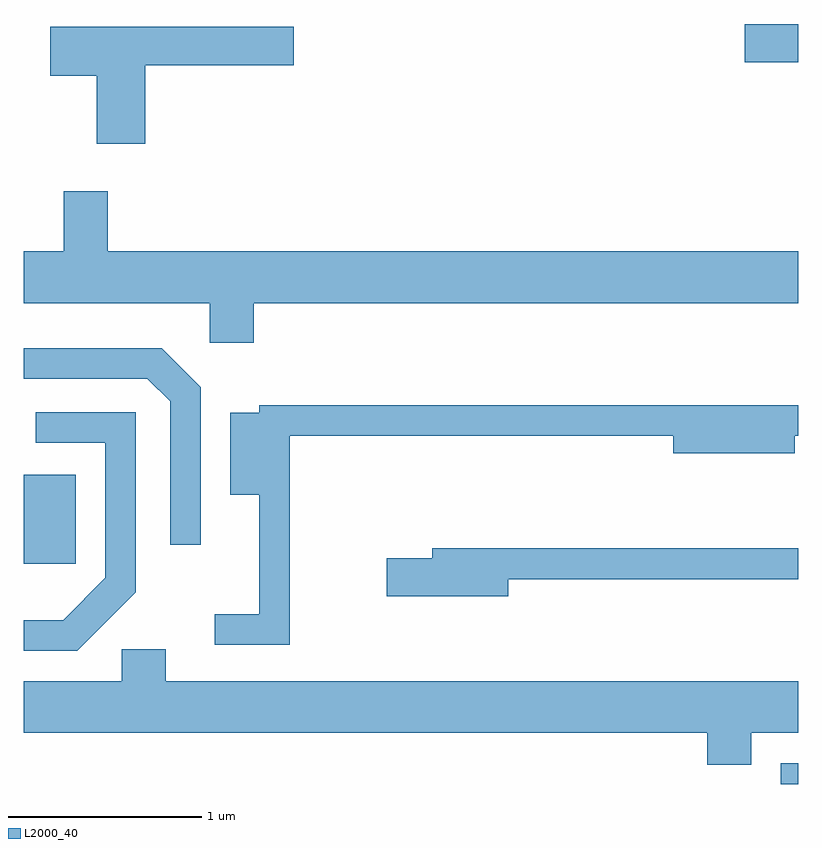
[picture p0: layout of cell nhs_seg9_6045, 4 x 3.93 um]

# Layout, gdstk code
import gdstk
lib = gdstk.Library(unit=1e-6, precision=1e-09)
def R(c, l, rs):  # rectangles x0, y0, x1, y1
    for r in rs: c.add(gdstk.rectangle(r[:2], r[2:], *l))
def P(c, l, *ps):  # polygons
    for p in ps: c.add(gdstk.Polygon(p, *l))
L2000_40 = (2000, 40)

nhs_seg9_6045 = lib.new_cell('nhs_seg9_6045')
R(nhs_seg9_6045, L2000_40, [(367.521,2000.432,367.611,2000.539), (363.611,2001.571,363.879,2002.029), (367.336,2004.161,367.611,2004.359)])
P(nhs_seg9_6045, L2000_40, [(364.239,2004.146),(365.004,2004.146),(365.004,2004.344),(363.746,2004.344),(363.746,2004.091),(363.986,2004.091),(363.986,2003.741),(364.239,2003.741)],
  [(364.799,2002.916),(367.611,2002.916),(367.611,2003.184),(364.044,2003.184),(364.044,2003.494),(363.816,2003.494),(363.816,2003.184),(363.611,2003.184),(363.611,2002.916),(364.571,2002.916),(364.571,2002.711),(364.799,2002.711)],
  [(364.524,2002.482),(364.322,2002.684),(363.611,2002.684),(363.611,2002.526),(364.249,2002.526),(364.366,2002.409),(364.366,2001.668),(364.524,2001.668)],
  [(364.984,2002.231),(366.966,2002.231),(366.966,2002.141),(367.594,2002.141),(367.594,2002.231),(367.611,2002.231),(367.611,2002.389),(364.826,2002.389),(364.826,2002.349),(364.676,2002.349),(364.676,2001.926),(364.826,2001.926),(364.826,2001.309),(364.598,2001.309),(364.598,2001.151),(364.984,2001.151)],
  [(364.189,2001.424),(364.189,2002.354),(363.673,2002.354),(363.673,2002.196),(364.031,2002.196),(364.031,2001.497),(363.814,2001.279),(363.611,2001.279),(363.611,2001.121),(363.887,2001.121)],
  [(366.114,2001.491),(367.611,2001.491),(367.611,2001.649),(365.721,2001.649),(365.721,2001.599),(365.486,2001.599),(365.486,2001.401),(366.114,2001.401)],
  [(367.369,2000.696),(367.611,2000.696),(367.611,2000.964),(364.344,2000.964),(364.344,2001.129),(364.116,2001.129),(364.116,2000.964),(363.611,2000.964),(363.611,2000.696),(367.141,2000.696),(367.141,2000.531),(367.369,2000.531)])

lib.write_gds('nhs_seg9_6045.gds')
